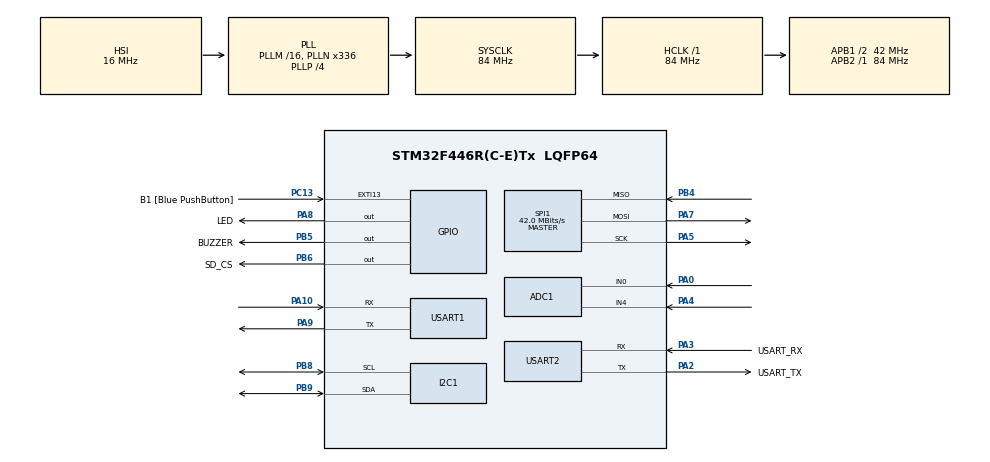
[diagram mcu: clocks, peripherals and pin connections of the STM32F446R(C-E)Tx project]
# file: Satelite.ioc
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ADC1.Channel-0\#ChannelRegularConversion=ADC_CHANNEL_0
ADC1.NbrOfConversionFlag=1
ADC1.Rank-0\#ChannelRegularConversion=1
ADC1.SamplingTime-0\#ChannelRegularConversion=ADC_SAMPLETIME_3CYCLES
ADC1.master=1
FREERTOS.Tasks01=defaultTask,24,128,StartDefaultTask,Default,NULL,Dynamic,NULL,NULL
FREERTOS.configUSE_NEWLIB_REENTRANT=1
Mcu.Family=STM32F4
Mcu.Name=STM32F446R(C-E)Tx
Mcu.Package=LQFP64
NVIC.PriorityGroup=NVIC_PRIORITYGROUP_4
NVIC.TIM1_UP_TIM10_IRQn=true\:15\:0\:false\:false\:true\:false\:false\:true\:true
NVIC.TimeBase=TIM1_UP_TIM10_IRQn
NVIC.TimeBaseIP=TIM1
PA0-WKUP.Signal=ADCx_IN0
PA10.Mode=Asynchronous
PA10.Signal=USART1_RX
PA13.GPIO_Label=TMS
PA13.Mode=Serial_Wire
PA13.Signal=SYS_JTMS-SWDIO
PA14.GPIO_Label=TCK
PA14.Mode=Serial_Wire
PA14.Signal=SYS_JTCK-SWCLK
PA2.GPIO_Label=USART_TX
PA2.Mode=Asynchronous
PA2.Signal=USART2_TX
PA3.GPIO_Label=USART_RX
PA3.Mode=Asynchronous
PA3.Signal=USART2_RX
PA4.Signal=ADCx_IN4
PA5.Mode=Full_Duplex_Master
PA5.Signal=SPI1_SCK
PA7.Mode=Full_Duplex_Master
PA7.Signal=SPI1_MOSI
PA8.GPIO_Label=LED
PA8.Signal=GPIO_Output
PA9.Mode=Asynchronous
PA9.Signal=USART1_TX
PB3.GPIO_Label=SWO
PB3.Signal=SYS_JTDO-SWO
PB4.Mode=Full_Duplex_Master
PB4.Signal=SPI1_MISO
PB5.GPIO_Label=BUZZER
PB5.Signal=GPIO_Output
PB6.GPIO_Label=SD_CS
PB6.Signal=GPIO_Output
PB8.Mode=I2C
PB8.Signal=I2C1_SCL
PB9.Mode=I2C
PB9.Signal=I2C1_SDA
PC13.GPIO_Label=B1 [Blue PushButton]
PC13.GPIO_ModeDefaultEXTI=GPIO_MODE_IT_FALLING
PC13.Signal=GPXTI13
PC14-OSC32_IN.Mode=LSE-External-Oscillator
PC14-OSC32_IN.Signal=RCC_OSC32_IN
PC15-OSC32_OUT.Mode=LSE-External-Oscillator
PC15-OSC32_OUT.Signal=RCC_OSC32_OUT
PH0-OSC_IN.Mode=HSE-External-Oscillator
PH0-OSC_IN.Signal=RCC_OSC_IN
PH1-OSC_OUT.Mode=HSE-External-Oscillator
PH1-OSC_OUT.Signal=RCC_OSC_OUT
ProjectManager.HeapSize=0x200
ProjectManager.StackSize=0x400
ProjectManager.TargetToolchain=STM32CubeIDE
RCC.48MHZClocksFreq_Value=84000000
RCC.AHBFreq_Value=84000000
RCC.APB1CLKDivider=RCC_HCLK_DIV2
RCC.APB1Freq_Value=42000000
RCC.APB1TimFreq_Value=84000000
RCC.APB2Freq_Value=84000000
RCC.APB2TimFreq_Value=84000000
RCC.CortexFreq_Value=84000000
RCC.FLatency-AdvancedSettings=FLASH_LATENCY_2
RCC.HCLKFreq_Value=84000000
RCC.HSE_VALUE=8000000
RCC.HSI_VALUE=16000000
RCC.PLLN=336
RCC.PLLP=RCC_PLLP_DIV4
RCC.SYSCLKFreq_VALUE=84000000
RCC.SYSCLKSource=RCC_SYSCLKSOURCE_PLLCLK
RCC.USBFreq_Value=168000000
RCC.VCOOutputFreq_Value=336000000
SH.ADCx_IN0.0=ADC1_IN0,IN0
SH.ADCx_IN4.0=ADC1_IN4,IN4
SPI1.CalculateBaudRate=42.0 MBits/s
SPI1.Direction=SPI_DIRECTION_2LINES
SPI1.Mode=SPI_MODE_MASTER
SPI1.VirtualType=VM_MASTER
USART1.VirtualMode=VM_ASYNC
USART2.VirtualMode=VM_ASYNC
VP_FREERTOS_VS_CMSIS_V2.Mode=CMSIS_V2
VP_SYS_VS_tim1.Mode=TIM1
board=NUCLEO-F446RE

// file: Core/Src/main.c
/* USER CODE BEGIN Header */
/* USER CODE END Header */
#include "main.h"
#include "cmsis_os.h"

/* USER CODE BEGIN Includes */
#include <stdio.h>
#include <string.h>
#include <math.h>
#include "ssd1306.h"
#include "ssd1306_fonts.h"

/* USER CODE END Includes */

/* USER CODE BEGIN PD */

/* ---- I2C addresses ---- */
#define MPU6050_ADDR       (0x68 << 1)
#define BMP280_ADDR        (0x76 << 1)

/* ---- MPU-6050 registers ---- */
#define MPU_REG_PWR_MGMT1  0x6B
#define MPU_REG_ACCEL_CFG  0x1C
#define MPU_REG_GYRO_CFG   0x1B
#define MPU_REG_DATA_START 0x3B

/* ---- BMP280 registers ---- */
#define BMP_REG_ID         0xD0
#define BMP_REG_CTRL_MEAS  0xF4
#define BMP_REG_CONFIG     0xF5
#define BMP_REG_CALIB      0x88
#define BMP_REG_DATA_START 0xF7

/* ---- Joystick thresholds ---- */
#define JOY_LEFT_THRESH    1000
#define JOY_RIGHT_THRESH   3000
#define JOY_UP_THRESH      3000
#define JOY_DOWN_THRESH    1000

/* ---- Alarm thresholds ---- */
#define ALARM_TILT_G       0.8f     /* accel X or Y > 0.8g        */
#define ALARM_TEMP_HIGH    50.0f    /* BMP temperature > 50 C     */
#define ALARM_PRES_LOW     950.0f   /* pressure < 950 hPa         */
#define ALARM_PRES_HIGH    1050.0f  /* pressure > 1050 hPa        */
#define ALARM_ALT_HIGH     2000.0f  /* altitude > 2000 m          */
#define ALARM_ALT_LOW      -100.0f  /* altitude < -100 m          */

/* ---- SD card SPI commands ---- */
#define SD_CMD0    0    /* GO_IDLE_STATE           */
#define SD_CMD1    1    /* SEND_OP_COND            */
#define SD_CMD8    8    /* SEND_IF_COND            */
#define SD_CMD16   16   /* SET_BLOCKLEN            */
#define SD_CMD17   17   /* READ_SINGLE_BLOCK       */
#define SD_CMD24   24   /* WRITE_BLOCK             */
#define SD_CMD55   55   /* APP_CMD                 */
#define SD_CMD58   58   /* READ_OCR                */
#define SD_ACMD41  41   /* SD_SEND_OP_COND         */

/* ---- SD log data packet ---- */
#define SD_BLOCK_SIZE      512
#define LOG_PACKET_SIZE    40   /* bytes per log entry     */
#define LOG_SYNC_MARKER    0xAA55AA55

/* USER CODE END PD */

ADC_HandleTypeDef hadc1;

I2C_HandleTypeDef hi2c1;

SPI_HandleTypeDef hspi1;

UART_HandleTypeDef huart1;
UART_HandleTypeDef huart2;

/* Definitions for defaultTask */
osThreadId_t defaultTaskHandle;
const osThreadAttr_t defaultTask_attributes = {
  .name = "defaultTask",
  .stack_size = 128 * 4,
  .priority = (osPriority_t) osPriorityNormal,
};
/* USER CODE BEGIN PV */

/* ---- Shared IMU data ---- */
typedef struct {
  float accel_x, accel_y, accel_z;   /* in g          */
  float gyro_x, gyro_y, gyro_z;     /* in deg/s      */
  float temp;                        /* in degrees C  */
} IMU_Data_t;

IMU_Data_t imu_data = {0};

osMutexId_t mutexIMU_Handle;
const osMutexAttr_t mutexIMU_attr = {
  .name = "mutexIMU"
};

/* ---- Shared BMP280 data ---- */
typedef struct {
  float temperature;    /* in degrees C  */
  float pressure;       /* in hPa        */
  float altitude;       /* in meters     */
} BMP_Data_t;

BMP_Data_t bmp_data = {0};

osMutexId_t mutexBMP_Handle;
const osMutexAttr_t mutexBMP_attr = {
  .name = "mutexBMP"
};

/* ---- Shared alarm flags ---- */
typedef struct {
  uint8_t tilt;          /* 1 = tilt alert active    */
  uint8_t temp_high;     /* 1 = temp alert active    */
  uint8_t pres_abnormal; /* 1 = pressure alert       */
  uint8_t alt_critical;  /* 1 = altitude alert       */
} Alarm_Flags_t;

Alarm_Flags_t alarm_flags = {0};

osMutexId_t mutexAlarm_Handle;
const osMutexAttr_t mutexAlarm_attr = {
  .name = "mutexAlarm"
};

/* ---- BMP280 calibration (read once at init) ---- */
static uint16_t bmp_dig_T1;
static int16_t  bmp_dig_T2, bmp_dig_T3;
static uint16_t bmp_dig_P1;
static int16_t  bmp_dig_P2, bmp_dig_P3, bmp_dig_P4, bmp_dig_P5;
static int16_t  bmp_dig_P6, bmp_dig_P7, bmp_dig_P8, bmp_dig_P9;
static int32_t  bmp_t_fine;

/* ---- SD card state ---- */
static volatile uint8_t sd_initialized = 0;

/* ---- Task handles ---- */
osThreadId_t taskIMU_Handle;
osThreadId_t taskBMP_Handle;
osThreadId_t taskDisplay_Handle;
osThreadId_t taskTelemetry_Handle;
osThreadId_t taskAlarm_Handle;
osThreadId_t taskSDLog_Handle;

/* ---- Task attributes ---- */
const osThreadAttr_t taskIMU_attr = {
  .name = "Task_IMU",
  .stack_size = 256 * 4,
  .priority = (osPriority_t) osPriorityAboveNormal,
};

const osThreadAttr_t taskBMP_attr = {
  .name = "Task_BMP",
  .stack_size = 256 * 4,
  .priority = (osPriority_t) osPriorityNormal,
};

const osThreadAttr_t taskDisplay_attr = {
  .name = "Task_Display",
  .stack_size = 512 * 4,
  .priority = (osPriority_t) osPriorityNormal,
};

const osThreadAttr_t taskTelemetry_attr = {
  .name = "Task_Telemetry",
  .stack_size = 512 * 4,
  .priority = (osPriority_t) osPriorityBelowNormal,
};

const osThreadAttr_t taskAlarm_attr = {
  .name = "Task_Alarm",
  .stack_size = 256 * 4,
  .priority = (osPriority_t) osPriorityAboveNormal,
};

const osThreadAttr_t taskSDLog_attr = {
  .name = "Task_SDLog",
  .stack_size = 512 * 4,
  .priority = (osPriority_t) osPriorityBelowNormal,
};

/* ---- I2C mutex (shared between IMU, BMP, OLED) ---- */
osMutexId_t mutexI2C_Handle;
const osMutexAttr_t mutexI2C_attr = {
  .name = "mutexI2C"
};

/* ---- SPI mutex (SD card) ---- */
osMutexId_t mutexSPI_Handle;
const osMutexAttr_t mutexSPI_attr = {
  .name = "mutexSPI"
};

/* ---- Screen navigation ---- */
static volatile uint8_t current_screen = 0;
#define SCREEN_COUNT 4  /* IMU / BMP / ALARM / STATUS */

/* USER CODE END PV */

void SystemClock_Config(void);
static void MX_GPIO_Init(void);
static void MX_USART2_UART_Init(void);
static void MX_I2C1_Init(void);
static void MX_ADC1_Init(void);
static void MX_SPI1_Init(void);
static void MX_USART1_UART_Init(void);
void StartDefaultTask(void *argument);

/* USER CODE BEGIN PFP */
void Task_IMU(void *argument);
void Task_BMP(void *argument);
void Task_Display(void *argument);
void Task_Telemetry(void *argument);
void Task_Alarm(void *argument);
void Task_SDLog(void *argument);
/* USER CODE END PFP */

/* USER CODE BEGIN 0 */

/* ---- BMP280 compensation (datasheet formulas) ---- */
static float BMP280_CompensateTemp(int32_t adc_T)
{
  float var1 = (((float)adc_T) / 16384.0f - ((float)bmp_dig_T1) / 1024.0f) * ((float)bmp_dig_T2);
  float var2 = ((((float)adc_T) / 131072.0f - ((float)bmp_dig_T1) / 8192.0f)
              * (((float)adc_T) / 131072.0f - ((float)bmp_dig_T1) / 8192.0f)) * ((float)bmp_dig_T3);
  bmp_t_fine = (int32_t)(var1 + var2);
  return (var1 + var2) / 5120.0f;
}

static float BMP280_CompensatePressure(int32_t adc_P)
{
  float var1 = ((float)bmp_t_fine / 2.0f) - 64000.0f;
  float var2 = var1 * var1 * ((float)bmp_dig_P6) / 32768.0f;
  var2 = var2 + var1 * ((float)bmp_dig_P5) * 2.0f;
  var2 = (var2 / 4.0f) + (((float)bmp_dig_P4) * 65536.0f);
  var1 = (((float)bmp_dig_P3) * var1 * var1 / 524288.0f + ((float)bmp_dig_P2) * var1) / 524288.0f;
  var1 = (1.0f + var1 / 32768.0f) * ((float)bmp_dig_P1);
  if (var1 == 0.0f) return 0.0f;
  float p = 1048576.0f - (float)adc_P;
  p = (p - (var2 / 4096.0f)) * 6250.0f / var1;
  var1 = ((float)bmp_dig_P9) * p * p / 2147483648.0f;
  var2 = p * ((float)bmp_dig_P8) / 32768.0f;
  p = p + (var1 + var2 + ((float)bmp_dig_P7)) / 16.0f;
  return p / 100.0f;
}

/* ---- Read a specific ADC channel ---- */
static uint16_t ADC_ReadChannel(uint32_t channel)
{
  ADC_ChannelConfTypeDef sConfig = {0};
  sConfig.Channel = channel;
  sConfig.Rank = 1;
  sConfig.SamplingTime = ADC_SAMPLETIME_3CYCLES;
  HAL_ADC_ConfigChannel(&hadc1, &sConfig);
  HAL_ADC_Start(&hadc1);
  HAL_ADC_PollForConversion(&hadc1, 10);
  uint16_t val = HAL_ADC_GetValue(&hadc1);
  HAL_ADC_Stop(&hadc1);
  return val;
}

/* ---- Buzzer helpers ---- */
static void Buzzer_Beep(uint16_t on_ms, uint16_t off_ms, uint8_t count)
{
  for (uint8_t i = 0; i < count; i++)
  {
    HAL_GPIO_WritePin(BUZZER_GPIO_Port, BUZZER_Pin, GPIO_PIN_SET);
    osDelay(on_ms);
    HAL_GPIO_WritePin(BUZZER_GPIO_Port, BUZZER_Pin, GPIO_PIN_RESET);
    if (i < count - 1) osDelay(off_ms);
  }
}

/* ---- SD card SPI helpers ---- */
static void SD_CS_Low(void)
{
  HAL_GPIO_WritePin(SD_CS_GPIO_Port, SD_CS_Pin, GPIO_PIN_RESET);
}

static void SD_CS_High(void)
{
  HAL_GPIO_WritePin(SD_CS_GPIO_Port, SD_CS_Pin, GPIO_PIN_SET);
}

static uint8_t SD_SPI_Byte(uint8_t data)
{
  uint8_t rx;
  HAL_SPI_TransmitReceive(&hspi1, &data, &rx, 1, HAL_MAX_DELAY);
  return rx;
}

static uint8_t SD_SendCmd(uint8_t cmd, uint32_t arg)
{
  uint8_t crc = 0xFF;
  if (cmd == SD_CMD0) crc = 0x95;  /* Valid CRC for CMD0 */
  if (cmd == SD_CMD8) crc = 0x87;  /* Valid CRC for CMD8 */

  SD_SPI_Byte(0xFF);
  SD_SPI_Byte(0x40 | cmd);
  SD_SPI_Byte((arg >> 24) & 0xFF);
  SD_SPI_Byte((arg >> 16) & 0xFF);
  SD_SPI_Byte((arg >> 8) & 0xFF);
  SD_SPI_Byte(arg & 0xFF);
  SD_SPI_Byte(crc);

  /* Wait for response (up to 8 bytes) */
  uint8_t res;
  for (uint8_t i = 0; i < 8; i++)
  {
    res = SD_SPI_Byte(0xFF);
    if (res != 0xFF) break;
  }
  return res;
}

static uint8_t SD_Init(void)
{
  /* Send 80 clock pulses with CS high */
  SD_CS_High();
  for (uint8_t i = 0; i < 10; i++) SD_SPI_Byte(0xFF);

  /* CMD0: go to idle state */
  SD_CS_Low();
  uint8_t res = SD_SendCmd(SD_CMD0, 0);
  SD_CS_High();
  SD_SPI_Byte(0xFF);
  if (res != 0x01) return 1;

  /* CMD8: check voltage range */
  SD_CS_Low();
  res = SD_SendCmd(SD_CMD8, 0x000001AA);
  if (res == 0x01)
  {
    /* Read 4 bytes of R7 response */
    for (uint8_t i = 0; i < 4; i++) SD_SPI_Byte(0xFF);
  }
  SD_CS_High();
  SD_SPI_Byte(0xFF);

  /* ACMD41: initialize card */
  uint16_t retry = 0;
  do {
    SD_CS_Low();
    SD_SendCmd(SD_CMD55, 0);
    SD_CS_High();
    SD_SPI_Byte(0xFF);

    SD_CS_Low();
    res = SD_SendCmd(SD_ACMD41, 0x40000000);
    SD_CS_High();
    SD_SPI_Byte(0xFF);

    retry++;
    if (retry > 500) return 2;
    osDelay(10);
  } while (res != 0x00);

  /* CMD16: set block length to 512 */
  SD_CS_Low();
  res = SD_SendCmd(SD_CMD16, SD_BLOCK_SIZE);
  SD_CS_High();
  SD_SPI_Byte(0xFF);
  if (res != 0x00) return 3;

  return 0;  /* Success */
}

static uint8_t SD_WriteBlock(uint32_t block_addr, const uint8_t *data)
{
  SD_CS_Low();

  /* CMD24: write single block */
  uint8_t res = SD_SendCmd(SD_CMD24, block_addr);
  if (res != 0x00)
  {
    SD_CS_High();
    return 1;
  }

  /* Send start token */
  SD_SPI_Byte(0xFF);
  SD_SPI_Byte(0xFE);

  /* Send 512 bytes of data */
  for (uint16_t i = 0; i < SD_BLOCK_SIZE; i++)
  {
    SD_SPI_Byte(data[i]);
  }

  /* Send dummy CRC */
  SD_SPI_Byte(0xFF);
  SD_SPI_Byte(0xFF);

  /* Read data response */
  res = SD_SPI_Byte(0xFF);
  if ((res & 0x1F) != 0x05)
  {
    SD_CS_High();
    return 2;
  }

  /* Wait for card to finish writing */
  uint16_t timeout = 0;
  while (SD_SPI_Byte(0xFF) == 0x00)
  {
    timeout++;
    if (timeout > 5000)
    {
      SD_CS_High();
      return 3;
    }
  }

  SD_CS_High();
  SD_SPI_Byte(0xFF);
  return 0;
}

/* USER CODE END 0 */

int main(void)
{

  /* MCU Configuration--------------------------------------------------------*/

  /* Reset of all peripherals, Initializes the Flash interface and the Systick. */
  HAL_Init();

  /* Configure the system clock */
  SystemClock_Config();

  /* Initialize all configured peripherals */
  MX_GPIO_Init();
  MX_USART2_UART_Init();
  MX_I2C1_Init();
  MX_ADC1_Init();
  MX_SPI1_Init();
  MX_USART1_UART_Init();

  /* Init scheduler */
  osKernelInitialize();

  /* USER CODE BEGIN RTOS_MUTEX */
  mutexI2C_Handle   = osMutexNew(&mutexI2C_attr);
  mutexIMU_Handle   = osMutexNew(&mutexIMU_attr);
  mutexBMP_Handle   = osMutexNew(&mutexBMP_attr);
  mutexAlarm_Handle = osMutexNew(&mutexAlarm_attr);
  mutexSPI_Handle   = osMutexNew(&mutexSPI_attr);
  /* USER CODE END RTOS_MUTEX */

  /* Create the thread(s) */
  /* creation of defaultTask */
  defaultTaskHandle = osThreadNew(StartDefaultTask, NULL, &defaultTask_attributes);

  /* USER CODE BEGIN RTOS_THREADS */
  taskIMU_Handle       = osThreadNew(Task_IMU,       NULL, &taskIMU_attr);
  taskBMP_Handle       = osThreadNew(Task_BMP,       NULL, &taskBMP_attr);
  taskDisplay_Handle   = osThreadNew(Task_Display,   NULL, &taskDisplay_attr);
  taskTelemetry_Handle = osThreadNew(Task_Telemetry, NULL, &taskTelemetry_attr);
  taskAlarm_Handle     = osThreadNew(Task_Alarm,     NULL, &taskAlarm_attr);
  taskSDLog_Handle     = osThreadNew(Task_SDLog,     NULL, &taskSDLog_attr);
  /* USER CODE END RTOS_THREADS */

  /* Start scheduler */
  osKernelStart();

  /* We should never get here as control is now taken by the scheduler */

  /* Infinite loop */
  /* USER CODE BEGIN WHILE */
  while (1)
  {
      /* USER CODE BEGIN WHILE */

  }
}

void SystemClock_Config(void)
{
  RCC_OscInitTypeDef RCC_OscInitStruct = {0};
  RCC_ClkInitTypeDef RCC_ClkInitStruct = {0};

  /** Configure the main internal regulator output voltage
  */
  __HAL_RCC_PWR_CLK_ENABLE();
  __HAL_PWR_VOLTAGESCALING_CONFIG(PWR_REGULATOR_VOLTAGE_SCALE3);

  /** Initializes the RCC Oscillators according to the specified parameters
  * in the RCC_OscInitTypeDef structure.
  */
  RCC_OscInitStruct.OscillatorType = RCC_OSCILLATORTYPE_HSI;
  RCC_OscInitStruct.HSIState = RCC_HSI_ON;
  RCC_OscInitStruct.HSICalibrationValue = RCC_HSICALIBRATION_DEFAULT;
  RCC_OscInitStruct.PLL.PLLState = RCC_PLL_ON;
  RCC_OscInitStruct.PLL.PLLSource = RCC_PLLSOURCE_HSI;
  RCC_OscInitStruct.PLL.PLLM = 16;
  RCC_OscInitStruct.PLL.PLLN = 336;
  RCC_OscInitStruct.PLL.PLLP = RCC_PLLP_DIV4;
  RCC_OscInitStruct.PLL.PLLQ = 2;
  RCC_OscInitStruct.PLL.PLLR = 2;
  if (HAL_RCC_OscConfig(&RCC_OscInitStruct) != HAL_OK)
  {
    Error_Handler();
  }

  /** Initializes the CPU, AHB and APB buses clocks
  */
  RCC_ClkInitStruct.ClockType = RCC_CLOCKTYPE_HCLK|RCC_CLOCKTYPE_SYSCLK
                              |RCC_CLOCKTYPE_PCLK1|RCC_CLOCKTYPE_PCLK2;
  RCC_ClkInitStruct.SYSCLKSource = RCC_SYSCLKSOURCE_PLLCLK;
  RCC_ClkInitStruct.AHBCLKDivider = RCC_SYSCLK_DIV1;
  RCC_ClkInitStruct.APB1CLKDivider = RCC_HCLK_DIV2;
  RCC_ClkInitStruct.APB2CLKDivider = RCC_HCLK_DIV1;

  if (HAL_RCC_ClockConfig(&RCC_ClkInitStruct, FLASH_LATENCY_2) != HAL_OK)
  {
    Error_Handler();
  }
}

static void MX_ADC1_Init(void)
{

  ADC_ChannelConfTypeDef sConfig = {0};

  hadc1.Instance = ADC1;
  hadc1.Init.ClockPrescaler = ADC_CLOCK_SYNC_PCLK_DIV4;
  hadc1.Init.Resolution = ADC_RESOLUTION_12B;
  hadc1.Init.ScanConvMode = DISABLE;
  hadc1.Init.ContinuousConvMode = DISABLE;
  hadc1.Init.DiscontinuousConvMode = DISABLE;
  hadc1.Init.ExternalTrigConvEdge = ADC_EXTERNALTRIGCONVEDGE_NONE;
  hadc1.Init.ExternalTrigConv = ADC_SOFTWARE_START;
  hadc1.Init.DataAlign = ADC_DATAALIGN_RIGHT;
  hadc1.Init.NbrOfConversion = 1;
  hadc1.Init.DMAContinuousRequests = DISABLE;
  hadc1.Init.EOCSelection = ADC_EOC_SINGLE_CONV;
  if (HAL_ADC_Init(&hadc1) != HAL_OK)
  {
    Error_Handler();
  }

  sConfig.Channel = ADC_CHANNEL_0;
  sConfig.Rank = 1;
  sConfig.SamplingTime = ADC_SAMPLETIME_3CYCLES;
  if (HAL_ADC_ConfigChannel(&hadc1, &sConfig) != HAL_OK)
  {
    Error_Handler();
  }

}

static void MX_I2C1_Init(void)
{

  hi2c1.Instance = I2C1;
  hi2c1.Init.ClockSpeed = 100000;
  hi2c1.Init.DutyCycle = I2C_DUTYCYCLE_2;
  hi2c1.Init.OwnAddress1 = 0;
  hi2c1.Init.AddressingMode = I2C_ADDRESSINGMODE_7BIT;
  hi2c1.Init.DualAddressMode = I2C_DUALADDRESS_DISABLE;
  hi2c1.Init.OwnAddress2 = 0;
  hi2c1.Init.GeneralCallMode = I2C_GENERALCALL_DISABLE;
  hi2c1.Init.NoStretchMode = I2C_NOSTRETCH_DISABLE;
  if (HAL_I2C_Init(&hi2c1) != HAL_OK)
  {
    Error_Handler();
  }

}

static void MX_SPI1_Init(void)
{

  hspi1.Instance = SPI1;
  hspi1.Init.Mode = SPI_MODE_MASTER;
  hspi1.Init.Direction = SPI_DIRECTION_2LINES;
  hspi1.Init.DataSize = SPI_DATASIZE_8BIT;
  hspi1.Init.CLKPolarity = SPI_POLARITY_LOW;
  hspi1.Init.CLKPhase = SPI_PHASE_1EDGE;
  hspi1.Init.NSS = SPI_NSS_SOFT;
  hspi1.Init.BaudRatePrescaler = SPI_BAUDRATEPRESCALER_2;
  hspi1.Init.FirstBit = SPI_FIRSTBIT_MSB;
  hspi1.Init.TIMode = SPI_TIMODE_DISABLE;
  hspi1.Init.CRCCalculation = SPI_CRCCALCULATION_DISABLE;
  hspi1.Init.CRCPolynomial = 10;
  if (HAL_SPI_Init(&hspi1) != HAL_OK)
  {
    Error_Handler();
  }

}

static void MX_USART1_UART_Init(void)
{

  huart1.Instance = USART1;
  huart1.Init.BaudRate = 115200;
  huart1.Init.WordLength = UART_WORDLENGTH_8B;
  huart1.Init.StopBits = UART_STOPBITS_1;
  huart1.Init.Parity = UART_PARITY_NONE;
  huart1.Init.Mode = UART_MODE_TX_RX;
  huart1.Init.HwFlowCtl = UART_HWCONTROL_NONE;
  huart1.Init.OverSampling = UART_OVERSAMPLING_16;
  if (HAL_UART_Init(&huart1) != HAL_OK)
  {
    Error_Handler();
  }

}

static void MX_USART2_UART_Init(void)
{

  huart2.Instance = USART2;
  huart2.Init.BaudRate = 115200;
  huart2.Init.WordLength = UART_WORDLENGTH_8B;
  huart2.Init.StopBits = UART_STOPBITS_1;
  huart2.Init.Parity = UART_PARITY_NONE;
  huart2.Init.Mode = UART_MODE_TX_RX;
  huart2.Init.HwFlowCtl = UART_HWCONTROL_NONE;
  huart2.Init.OverSampling = UART_OVERSAMPLING_16;
  if (HAL_UART_Init(&huart2) != HAL_OK)
  {
    Error_Handler();
  }

}

static void MX_GPIO_Init(void)
{
  GPIO_InitTypeDef GPIO_InitStruct = {0};

  __HAL_RCC_GPIOC_CLK_ENABLE();
  __HAL_RCC_GPIOH_CLK_ENABLE();
  __HAL_RCC_GPIOA_CLK_ENABLE();
  __HAL_RCC_GPIOB_CLK_ENABLE();

  HAL_GPIO_WritePin(LED_GPIO_Port, LED_Pin, GPIO_PIN_RESET);
  HAL_GPIO_WritePin(GPIOB, BUZZER_Pin|SD_CS_Pin, GPIO_PIN_RESET);

  GPIO_InitStruct.Pin = B1_Pin;
  GPIO_InitStruct.Mode = GPIO_MODE_IT_FALLING;
  GPIO_InitStruct.Pull = GPIO_NOPULL;
  HAL_GPIO_Init(B1_GPIO_Port, &GPIO_InitStruct);

  GPIO_InitStruct.Pin = LED_Pin;
  GPIO_InitStruct.Mode = GPIO_MODE_OUTPUT_PP;
  GPIO_InitStruct.Pull = GPIO_NOPULL;
  GPIO_InitStruct.Speed = GPIO_SPEED_FREQ_LOW;
  HAL_GPIO_Init(LED_GPIO_Port, &GPIO_InitStruct);

  GPIO_InitStruct.Pin = BUZZER_Pin|SD_CS_Pin;
  GPIO_InitStruct.Mode = GPIO_MODE_OUTPUT_PP;
  GPIO_InitStruct.Pull = GPIO_NOPULL;
  GPIO_InitStruct.Speed = GPIO_SPEED_FREQ_LOW;
  HAL_GPIO_Init(GPIOB, &GPIO_InitStruct);

}

/* USER CODE BEGIN 4 */

/* ===================================================================
 *  Task_IMU — Read MPU-6050 (accelerometer + gyroscope)
 *  Period: 50ms (20 Hz)
 * =================================================================== */
void Task_IMU(void *argument)
{
  uint8_t reg;

  /* ---- Init MPU-6050 with device reset ---- */
  osMutexAcquire(mutexI2C_Handle, osWaitForever);
  HAL_I2C_Mem_Read(&hi2c1, MPU6050_ADDR, 0x75, 1, &reg, 1, HAL_MAX_DELAY);
  reg = 0x80;
  HAL_I2C_Mem_Write(&hi2c1, MPU6050_ADDR, MPU_REG_PWR_MGMT1, 1, &reg, 1, HAL_MAX_DELAY);
  osMutexRelease(mutexI2C_Handle);

  osDelay(100);

  osMutexAcquire(mutexI2C_Handle, osWaitForever);
  reg = 0x00;
  HAL_I2C_Mem_Write(&hi2c1, MPU6050_ADDR, MPU_REG_PWR_MGMT1, 1, &reg, 1, HAL_MAX_DELAY);
  HAL_Delay(50);
  reg = 0x00;
  HAL_I2C_Mem_Write(&hi2c1, MPU6050_ADDR, MPU_REG_ACCEL_CFG, 1, &reg, 1, HAL_MAX_DELAY);
  reg = 0x00;
  HAL_I2C_Mem_Write(&hi2c1, MPU6050_ADDR, MPU_REG_GYRO_CFG, 1, &reg, 1, HAL_MAX_DELAY);
  osMutexRelease(mutexI2C_Handle);

  osDelay(100);

  for (;;)
  {
    uint8_t buf[14];

    osMutexAcquire(mutexI2C_Handle, osWaitForever);
    HAL_I2C_Mem_Read(&hi2c1, MPU6050_ADDR, MPU_REG_DATA_START, 1, buf, 14, HAL_MAX_DELAY);
    osMutexRelease(mutexI2C_Handle);

    int16_t raw_ax = (int16_t)((uint16_t)buf[0]  << 8 | buf[1]);
    int16_t raw_ay = (int16_t)((uint16_t)buf[2]  << 8 | buf[3]);
    int16_t raw_az = (int16_t)((uint16_t)buf[4]  << 8 | buf[5]);
    int16_t raw_t  = (int16_t)((uint16_t)buf[6]  << 8 | buf[7]);
    int16_t raw_gx = (int16_t)((uint16_t)buf[8]  << 8 | buf[9]);
    int16_t raw_gy = (int16_t)((uint16_t)buf[10] << 8 | buf[11]);
    int16_t raw_gz = (int16_t)((uint16_t)buf[12] << 8 | buf[13]);

    osMutexAcquire(mutexIMU_Handle, osWaitForever);
    imu_data.accel_x = raw_ax / 16384.0f;
    imu_data.accel_y = raw_ay / 16384.0f;
    imu_data.accel_z = raw_az / 16384.0f;
    imu_data.gyro_x  = raw_gx / 131.0f;
    imu_data.gyro_y  = raw_gy / 131.0f;
    imu_data.gyro_z  = raw_gz / 131.0f;
    imu_data.temp    = (raw_t / 340.0f) + 36.53f;
    osMutexRelease(mutexIMU_Handle);

    osDelay(50);
  }
}

/* ===================================================================
 *  Task_BMP — Read BMP280 (temperature + pressure + altitude)
 *  Period: 500ms (2 Hz)
 * =================================================================== */
void Task_BMP(void *argument)
{
  uint8_t calib[26];
  uint8_t reg;

  osMutexAcquire(mutexI2C_Handle, osWaitForever);
  HAL_I2C_Mem_Read(&hi2c1, BMP280_ADDR, BMP_REG_CALIB, 1, calib, 26, HAL_MAX_DELAY);
  osMutexRelease(mutexI2C_Handle);

  bmp_dig_T1 = (uint16_t)(calib[1]  << 8 | calib[0]);
  bmp_dig_T2 = (int16_t) (calib[3]  << 8 | calib[2]);
  bmp_dig_T3 = (int16_t) (calib[5]  << 8 | calib[4]);
  bmp_dig_P1 = (uint16_t)(calib[7]  << 8 | calib[6]);
  bmp_dig_P2 = (int16_t) (calib[9]  << 8 | calib[8]);
  bmp_dig_P3 = (int16_t) (calib[11] << 8 | calib[10]);
  bmp_dig_P4 = (int16_t) (calib[13] << 8 | calib[12]);
  bmp_dig_P5 = (int16_t) (calib[15] << 8 | calib[14]);
  bmp_dig_P6 = (int16_t) (calib[17] << 8 | calib[16]);
  bmp_dig_P7 = (int16_t) (calib[19] << 8 | calib[18]);
  bmp_dig_P8 = (int16_t) (calib[21] << 8 | calib[20]);
  bmp_dig_P9 = (int16_t) (calib[23] << 8 | calib[22]);

  osMutexAcquire(mutexI2C_Handle, osWaitForever);
  reg = 0x00;
  HAL_I2C_Mem_Write(&hi2c1, BMP280_ADDR, BMP_REG_CONFIG, 1, &reg, 1, HAL_MAX_DELAY);
  reg = 0x27;
  HAL_I2C_Mem_Write(&hi2c1, BMP280_ADDR, BMP_REG_CTRL_MEAS, 1, &reg, 1, HAL_MAX_DELAY);
  osMutexRelease(mutexI2C_Handle);

  osDelay(100);

  for (;;)
  {
    uint8_t data[6];

    osMutexAcquire(mutexI2C_Handle, osWaitForever);
    HAL_I2C_Mem_Read(&hi2c1, BMP280_ADDR, BMP_REG_DATA_START, 1, data, 6, HAL_MAX_DELAY);
    osMutexRelease(mutexI2C_Handle);

    int32_t adc_P = ((int32_t)data[0] << 12) | ((int32_t)data[1] << 4) | ((int32_t)data[2] >> 4);
    int32_t adc_T = ((int32_t)data[3] << 12) | ((int32_t)data[4] << 4) | ((int32_t)data[5] >> 4);

    float temp = BMP280_CompensateTemp(adc_T);
    float pres = BMP280_CompensatePressure(adc_P);
    float alt  = 44330.0f * (1.0f - powf(pres / 1013.25f, 0.1903f));

    osMutexAcquire(mutexBMP_Handle, osWaitForever);
    bmp_data.temperature = temp;
    bmp_data.pressure    = pres;
    bmp_data.altitude    = alt;
    osMutexRelease(mutexBMP_Handle);

    osDelay(500);
  }
}

/* ===================================================================
 *  Task_Alarm — Check sensor thresholds and trigger buzzer
 *  Period: 500ms (2 Hz)
 *  Short beeps = warning, long beep = critical
 * =================================================================== */
void Task_Alarm(void *argument)
{
  osDelay(2000);  /* Let sensors stabilize */

  for (;;)
  {
    /* Local copies */
    IMU_Data_t imu_local;
    osMutexAcquire(mutexIMU_Handle, osWaitForever);
    imu_local = imu_data;
    osMutexRelease(mutexIMU_Handle);

    BMP_Data_t bmp_local;
    osMutexAcquire(mutexBMP_Handle, osWaitForever);
    bmp_local = bmp_data;
    osMutexRelease(mutexBMP_Handle);

    /* Evaluate alarm conditions */
    uint8_t tilt = 0, temp_hi = 0, pres_ab = 0, alt_crit = 0;

    /* Tilt: accel X or Y exceeds threshold */
    if (fabsf(imu_local.accel_x) > ALARM_TILT_G ||
        fabsf(imu_local.accel_y) > ALARM_TILT_G)
    {
      tilt = 1;
    }

    /* High temperature */
    if (bmp_local.temperature > ALARM_TEMP_HIGH)
    {
      temp_hi = 1;
    }

    /* Abnormal pressure */
    if (bmp_local.pressure < ALARM_PRES_LOW ||
        bmp_local.pressure > ALARM_PRES_HIGH)
    {
      pres_ab = 1;
    }

    /* Critical altitude */
    if (bmp_local.altitude > ALARM_ALT_HIGH ||
        bmp_local.altitude < ALARM_ALT_LOW)
    {
      alt_crit = 1;
    }

    /* Update shared alarm flags */
    osMutexAcquire(mutexAlarm_Handle, osWaitForever);
    alarm_flags.tilt          = tilt;
    alarm_flags.temp_high     = temp_hi;
    alarm_flags.pres_abnormal = pres_ab;
    alarm_flags.alt_critical  = alt_crit;
    osMutexRelease(mutexAlarm_Handle);

    /* Sound buzzer based on severity */
    uint8_t total_alerts = tilt + temp_hi + pres_ab + alt_crit;

    if (alt_crit || pres_ab)
    {
      /* Critical: long beep */
      Buzzer_Beep(500, 200, 1);
    }
    else if (total_alerts > 0)
    {
      /* Warning: short beeps (count = number of active alerts) */
      Buzzer_Beep(100, 100, total_alerts);
    }

    osDelay(500);
  }
}

/* ===================================================================
 *  Task_Display — OLED SSD1306 + dual-axis joystick
 *  Period: 100ms (10 Hz)
 *  4 screens: [IMU] [BMP280] [ALARM] [STATUS]
 * =================================================================== */
void Task_Display(void *argument)
{
  char line[22];
  uint8_t joy_locked = 0;

  osMutexAcquire(mutexI2C_Handle, osWaitForever);
  ssd1306_Init();
  osMutexRelease(mutexI2C_Handle);

  osDelay(100);

  for (;;)
  {
    uint16_t joy_x = ADC_ReadChannel(ADC_CHANNEL_0);
    uint16_t joy_y = ADC_ReadChannel(ADC_CHANNEL_4);

    if (!joy_locked)
    {
      if (joy_x < JOY_LEFT_THRESH)
      {
        if (current_screen < SCREEN_COUNT - 1) current_screen++;
        joy_locked = 1;
      }
      else if (joy_x > JOY_RIGHT_THRESH)
      {
        if (current_screen > 0) current_screen--;
        joy_locked = 1;
      }
    }
    else
    {
      if (joy_x > JOY_LEFT_THRESH && joy_x < JOY_RIGHT_THRESH)
      {
        joy_locked = 0;
      }
    }

    /* Local copies */
    IMU_Data_t imu_local;
    osMutexAcquire(mutexIMU_Handle, osWaitForever);
    imu_local = imu_data;
    osMutexRelease(mutexIMU_Handle);

    BMP_Data_t bmp_local;
    osMutexAcquire(mutexBMP_Handle, osWaitForever);
    bmp_local = bmp_data;
    osMutexRelease(mutexBMP_Handle);

    Alarm_Flags_t alarm_local;
    osMutexAcquire(mutexAlarm_Handle, osWaitForever);
    alarm_local = alarm_flags;
    osMutexRelease(mutexAlarm_Handle);

    /* Render */
    osMutexAcquire(mutexI2C_Handle, osWaitForever);
    ssd1306_Fill(Black);

    switch (current_screen)
    {
      case 0: /* ---- IMU SCREEN ---- */
        ssd1306_SetCursor(0, 0);
        ssd1306_WriteString("[IMU]", Font_7x10, White);

        sprintf(line, "AX:%.2f", imu_local.accel_x);
        ssd1306_SetCursor(0, 14);
        ssd1306_WriteString(line, Font_7x10, White);

        sprintf(line, "AY:%.2f", imu_local.accel_y);
        ssd1306_SetCursor(0, 26);
        ssd1306_WriteString(line, Font_7x10, White);

        sprintf(line, "AZ:%.2f", imu_local.accel_z);
        ssd1306_SetCursor(0, 38);
        ssd1306_WriteString(line, Font_7x10, White);

        sprintf(line, "T:%.1fC", imu_local.temp);
        ssd1306_SetCursor(0, 50);
        ssd1306_WriteString(line, Font_7x10, White);
        break;

      case 1: /* ---- BMP280 SCREEN ---- */
        ssd1306_SetCursor(0, 0);
        ssd1306_WriteString("[BMP280]", Font_7x10, White);

        sprintf(line, "T:%.1f C", bmp_local.temperature);
        ssd1306_SetCursor(0, 14);
        ssd1306_WriteString(line, Font_7x10, White);

        sprintf(line, "P:%.1f hPa", bmp_local.pressure);
        ssd1306_SetCursor(0, 28);
        ssd1306_WriteString(line, Font_7x10, White);

        sprintf(line, "Alt:%.1f m", bmp_local.altitude);
        ssd1306_SetCursor(0, 42);
        ssd1306_WriteString(line, Font_7x10, White);
        break;

      case 2: /* ---- ALARM SCREEN ---- */
        ssd1306_SetCursor(0, 0);
        ssd1306_WriteString("[ALARM]", Font_7x10, White);

        sprintf(line, "TILT: %s", alarm_local.tilt ? "! ALERT" : "OK");
        ssd1306_SetCursor(0, 14);
        ssd1306_WriteString(line, Font_7x10, White);

        sprintf(line, "TEMP: %s", alarm_local.temp_high ? "! HIGH" : "OK");
        ssd1306_SetCursor(0, 26);
        ssd1306_WriteString(line, Font_7x10, White);

        sprintf(line, "PRES: %s", alarm_local.pres_abnormal ? "! ABNORM" : "OK");
        ssd1306_SetCursor(0, 38);
        ssd1306_WriteString(line, Font_7x10, White);

        sprintf(line, "ALT:  %s", alarm_local.alt_critical ? "! CRIT" : "OK");
        ssd1306_SetCursor(0, 50);
        ssd1306_WriteString(line, Font_7x10, White);
        break;

      case 3: /* ---- STATUS SCREEN ---- */
        ssd1306_SetCursor(0, 0);
        ssd1306_WriteString("[STATUS]", Font_7x10, White);

        ssd1306_SetCursor(0, 14);
        ssd1306_WriteString("IMU:OK  BMP:OK", Font_7x10, White);

        sprintf(line, "SD:%s", sd_initialized ? "OK" : "--");
        ssd1306_SetCursor(0, 28);
        ssd1306_WriteString(line, Font_7x10, White);

        sprintf(line, "JX:%d JY:%d", joy_x, joy_y);
        ssd1306_SetCursor(0, 42);
        ssd1306_WriteString(line, Font_7x10, White);
        break;
    }

    /* Page indicator (bottom right, all screens) */
    sprintf(line, "%d/%d", current_screen + 1, SCREEN_COUNT);
    ssd1306_SetCursor(100, 54);
    ssd1306_WriteString(line, Font_7x10, White);

    ssd1306_UpdateScreen();
    osMutexRelease(mutexI2C_Handle);

    osDelay(100);
  }
}

/* ===================================================================
 *  Task_Telemetry — Send CSV data over UART2
 *  Period: 200ms (5 Hz)
 * =================================================================== */
void Task_Telemetry(void *argument)
{
  static char tx[128];

  const char *header = "AX,AY,AZ,GX,GY,GZ,T_IMU,T_BMP,P,ALT,JX,JY,ALARMS\r\n";
  HAL_UART_Transmit(&huart2, (uint8_t*)header, strlen(header), HAL_MAX_DELAY);

  for (;;)
  {
    IMU_Data_t imu_local;
    osMutexAcquire(mutexIMU_Handle, osWaitForever);
    imu_local = imu_data;
    osMutexRelease(mutexIMU_Handle);

    BMP_Data_t bmp_local;
    osMutexAcquire(mutexBMP_Handle, osWaitForever);
    bmp_local = bmp_data;
    osMutexRelease(mutexBMP_Handle);

    Alarm_Flags_t alarm_local;
    osMutexAcquire(mutexAlarm_Handle, osWaitForever);
    alarm_local = alarm_flags;
    osMutexRelease(mutexAlarm_Handle);

    uint16_t joy_x = ADC_ReadChannel(ADC_CHANNEL_0);
    uint16_t joy_y = ADC_ReadChannel(ADC_CHANNEL_4);

    /* Alarm bitfield: bit0=tilt, bit1=temp, bit2=pres, bit3=alt */
    uint8_t alarm_bits = (alarm_local.tilt)
                       | (alarm_local.temp_high << 1)
                       | (alarm_local.pres_abnormal << 2)
                       | (alarm_local.alt_critical << 3);

    sprintf(tx, "%.2f,%.2f,%.2f,%.1f,%.1f,%.1f,",
      imu_local.accel_x, imu_local.accel_y, imu_local.accel_z,
      imu_local.gyro_x,  imu_local.gyro_y,  imu_local.gyro_z);
    HAL_UART_Transmit(&huart2, (uint8_t*)tx, strlen(tx), HAL_MAX_DELAY);

    sprintf(tx, "%.1f,%.1f,%.1f,%.1f,",
      imu_local.temp,
      bmp_local.temperature, bmp_local.pressure, bmp_local.altitude);
    HAL_UART_Transmit(&huart2, (uint8_t*)tx, strlen(tx), HAL_MAX_DELAY);

    sprintf(tx, "%d,%d,%d\r\n", joy_x, joy_y, alarm_bits);
    HAL_UART_Transmit(&huart2, (uint8_t*)tx, strlen(tx), HAL_MAX_DELAY);

    osDelay(200);
  }
}

/* ===================================================================
 *  Task_SDLog — Log raw data to SD card via SPI
 *  Period: 1000ms (1 Hz)
 *  Each 512-byte block contains multiple 40-byte log packets
 *  Packet format (40 bytes):
 *    [0-3]   sync marker (0xAA55AA55)
 *    [4-7]   timestamp (ms, uint32_t)
 *    [8-11]  accel_x (float)
 *    [12-15] accel_y (float)
 *    [16-19] accel_z (float)
 *    [20-23] gyro_x (float)
 *    [24-27] gyro_y (float)
 *    [28-31] gyro_z (float)
 *    [32-35] bmp_temp (float)
 *    [36-39] bmp_pres (float)
 *    [40-43] bmp_alt (float) -- NOTE: extends to 44 bytes
 *    Actually using 48 bytes per packet for alignment:
 *    [44-45] alarm_bits (uint16_t)
 *    [46-47] padding
 *  Adjusted: LOG_PACKET_SIZE = 48, fits 10 packets per block
 * =================================================================== */
void Task_SDLog(void *argument)
{
  static uint8_t block_buf[SD_BLOCK_SIZE];
  uint32_t block_addr = 0;
  uint16_t buf_offset = 0;

  osDelay(3000);  /* Wait for sensors to be ready */

  /* Try to init SD card */
  osMutexAcquire(mutexSPI_Handle, osWaitForever);
  uint8_t result = SD_Init();
  osMutexRelease(mutexSPI_Handle);

  if (result == 0)
  {
    sd_initialized = 1;
  }

  for (;;)
  {
    if (!sd_initialized)
    {
      /* Retry init every 5 seconds */
      osDelay(5000);
      osMutexAcquire(mutexSPI_Handle, osWaitForever);
      uint8_t res = SD_Init();
      osMutexRelease(mutexSPI_Handle);
      if (res == 0) sd_initialized = 1;
      continue;
    }

    /* Gather data */
    IMU_Data_t imu_local;
    osMutexAcquire(mutexIMU_Handle, osWaitForever);
    imu_local = imu_data;
    osMutexRelease(mutexIMU_Handle);

    BMP_Data_t bmp_local;
    osMutexAcquire(mutexBMP_Handle, osWaitForever);
    bmp_local = bmp_data;
    osMutexRelease(mutexBMP_Handle);

    Alarm_Flags_t alarm_local;
    osMutexAcquire(mutexAlarm_Handle, osWaitForever);
    alarm_local = alarm_flags;
    osMutexRelease(mutexAlarm_Handle);

    uint8_t alarm_bits = (alarm_local.tilt)
                       | (alarm_local.temp_high << 1)
                       | (alarm_local.pres_abnormal << 2)
                       | (alarm_local.alt_critical << 3);

    /* Build packet (48 bytes) */
    uint32_t timestamp = HAL_GetTick();
    uint32_t sync = LOG_SYNC_MARKER;

    memcpy(&block_buf[buf_offset +  0], &sync, 4);
    memcpy(&block_buf[buf_offset +  4], &timestamp, 4);
    memcpy(&block_buf[buf_offset +  8], &imu_local.accel_x, 4);
    memcpy(&block_buf[buf_offset + 12], &imu_local.accel_y, 4);
    memcpy(&block_buf[buf_offset + 16], &imu_local.accel_z, 4);
    memcpy(&block_buf[buf_offset + 20], &imu_local.gyro_x, 4);
    memcpy(&block_buf[buf_offset + 24], &imu_local.gyro_y, 4);
    memcpy(&block_buf[buf_offset + 28], &imu_local.gyro_z, 4);
    memcpy(&block_buf[buf_offset + 32], &bmp_local.temperature, 4);
    memcpy(&block_buf[buf_offset + 36], &bmp_local.pressure, 4);
    memcpy(&block_buf[buf_offset + 40], &bmp_local.altitude, 4);
    memcpy(&block_buf[buf_offset + 44], &alarm_bits, 1);
    block_buf[buf_offset + 45] = 0;
    block_buf[buf_offset + 46] = 0;
    block_buf[buf_offset + 47] = 0;

    buf_offset += 48;

    /* When buffer is full (10 packets = 480 bytes), pad and write */
    if (buf_offset >= 480)
    {
      /* Zero-fill remaining bytes */
      memset(&block_buf[buf_offset], 0, SD_BLOCK_SIZE - buf_offset);

      /* Write block to SD */
      osMutexAcquire(mutexSPI_Handle, osWaitForever);
      uint8_t wr = SD_WriteBlock(block_addr, block_buf);
      osMutexRelease(mutexSPI_Handle);

      if (wr != 0)
      {
        /* Write failed — try reinit next cycle */
        sd_initialized = 0;
      }

      block_addr++;
      buf_offset = 0;
    }

    osDelay(1000);
  }
}

/* USER CODE END 4 */

void StartDefaultTask(void *argument)
{
  /* USER CODE BEGIN 5 */
  /* Heartbeat LED — confirms scheduler is running */
  for(;;)
  {
    HAL_GPIO_TogglePin(LED_GPIO_Port, LED_Pin);
    osDelay(500);
  }
  /* USER CODE END 5 */
}

void HAL_TIM_PeriodElapsedCallback(TIM_HandleTypeDef *htim)
{
  if (htim->Instance == TIM1)
  {
    HAL_IncTick();
  }
}

void Error_Handler(void)
{
}
